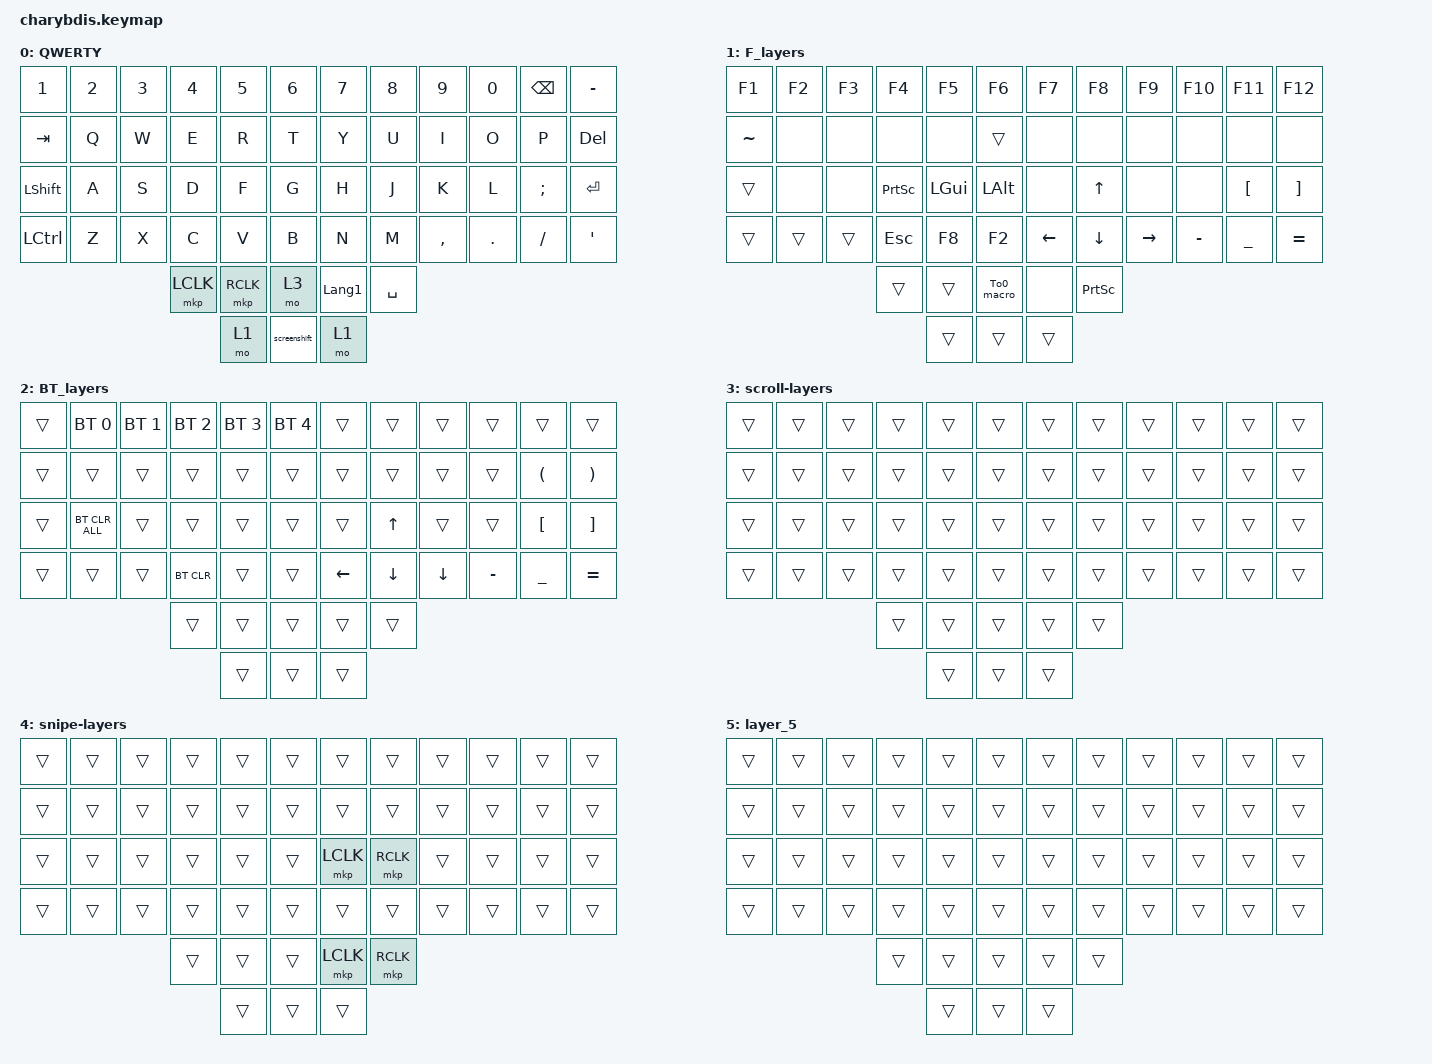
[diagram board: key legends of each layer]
#include <behaviors.dtsi>
#include <dt-bindings/zmk/bt.h>
#include <dt-bindings/zmk/keys.h>
#include <dt-bindings/zmk/pointing.h>
#include <dt-bindings/zmk/rgb.h>

&lt {
    tapping-term-ms = <200>;
    flavor = "balanced";
    quick-tap-ms = <150>;
};

/ {
    macros {
        To1_macro: To1_macro {
            compatible = "zmk,behavior-macro";
            label = "To1_macro";
            #binding-cells = <0>;
            bindings = <&rgb_ug RGB_EFF &rgb_ug RGB_COLOR_HSB(128,100,50) &to 1>;
        };

        To0_macro: To0_macro {
            compatible = "zmk,behavior-macro";
            label = "To0_macro";
            #binding-cells = <0>;
            bindings = <&rgb_ug RGB_EFR &to 0>;
        };

        To2_macro: To2_macro {
            compatible = "zmk,behavior-macro";
            label = "To2_macro";
            #binding-cells = <0>;
            bindings =
                <&to 2>,
                <&macro_wait_time 30>,
                <&rgb_ug RGB_COLOR_HSB(250,100,50)>;
        };

        screenshift: screenshift {
            compatible = "zmk,behavior-macro";
            #binding-cells = <0>;
            bindings =
                <&macro_press>,
                <&kp LEFT_GUI &kp LEFT_SHIFT>,
                <&macro_tap>,
                <&kp RIGHT_ARROW>,
                <&macro_release>,
                <&kp LEFT_GUI &kp LEFT_SHIFT>;

            label = "SCREENSHIFT";
        };
    };

    keymap {
        compatible = "zmk,keymap";

        QWERTY {
            bindings = <
&kp N1          &kp N2  &kp N3  &kp N4     &kp N5     &kp N6          &kp N7          &kp N8     &kp N9     &kp N0   &kp BSPC  &kp MINUS
&kp TAB         &kp Q   &kp W   &kp E      &kp R      &kp T           &kp Y           &kp U      &kp I      &kp O    &kp P     &kp DELETE
&kp LEFT_SHIFT  &kp A   &kp S   &kp D      &kp F      &kp G           &kp H           &kp J      &kp K      &kp L    &kp SEMI  &kp ENTER
&kp LCTRL       &kp Z   &kp X   &kp C      &kp V      &kp B           &kp N           &kp M      &kp COMMA  &kp DOT  &kp FSLH  &kp SQT
                                &mkp LCLK  &mkp RCLK  &mo 3           &kp LANGUAGE_1  &kp SPACE
                                           &mo 1      &screenshift    &mo 1
            >;
        };

        F_layers {
            bindings = <
&kp F1     &kp F2  &kp F3  &kp F4           &kp F5        &kp F6          &kp F7          &kp F8           &kp F9           &kp F10    &kp F11           &kp F12
&kp TILDE  &none   &none   &none            &none         &trans          &none           &none            &none            &none      &none             &none
&trans     &none   &none   &kp PRINTSCREEN  &kp LEFT_GUI  &kp LEFT_ALT    &none           &kp UP_ARROW     &none            &none      &kp LEFT_BRACKET  &kp RIGHT_BRACKET
&trans     &trans  &trans  &kp ESCAPE       &kp F8        &kp F2          &kp LEFT_ARROW  &kp DOWN_ARROW   &kp RIGHT_ARROW  &kp MINUS  &kp UNDER         &kp EQUAL
                           &trans           &trans        &To0_macro      &none           &kp PRINTSCREEN
                                            &trans        &trans          &trans
            >;
        };

        BT_layers {
            bindings = <
&trans  &bt BT_SEL 0    &bt BT_SEL 1  &bt BT_SEL 2  &bt BT_SEL 3  &bt BT_SEL 4    &trans          &trans          &trans          &trans     &trans                &trans
&trans  &trans          &trans        &trans        &trans        &trans          &trans          &trans          &trans          &trans     &kp LEFT_PARENTHESIS  &kp RIGHT_PARENTHESIS
&trans  &bt BT_CLR_ALL  &trans        &trans        &trans        &trans          &trans          &kp UP_ARROW    &trans          &trans     &kp LEFT_BRACKET      &kp RIGHT_BRACKET
&trans  &trans          &trans        &bt BT_CLR    &trans        &trans          &kp LEFT_ARROW  &kp DOWN_ARROW  &kp DOWN_ARROW  &kp MINUS  &kp UNDER             &kp EQUAL
                                      &trans        &trans        &trans          &trans          &trans
                                                    &trans        &trans          &trans
            >;
        };

        scroll-layers {
            bindings = <
&trans  &trans  &trans  &trans  &trans  &trans    &trans  &trans  &trans  &trans  &trans  &trans
&trans  &trans  &trans  &trans  &trans  &trans    &trans  &trans  &trans  &trans  &trans  &trans
&trans  &trans  &trans  &trans  &trans  &trans    &trans  &trans  &trans  &trans  &trans  &trans
&trans  &trans  &trans  &trans  &trans  &trans    &trans  &trans  &trans  &trans  &trans  &trans
                        &trans  &trans  &trans    &trans  &trans
                                &trans  &trans    &trans
            >;
        };

        snipe-layers {
            bindings = <
&trans  &trans  &trans  &trans  &trans  &trans    &trans     &trans     &trans  &trans  &trans  &trans
&trans  &trans  &trans  &trans  &trans  &trans    &trans     &trans     &trans  &trans  &trans  &trans
&trans  &trans  &trans  &trans  &trans  &trans    &mkp LCLK  &mkp RCLK  &trans  &trans  &trans  &trans
&trans  &trans  &trans  &trans  &trans  &trans    &trans     &trans     &trans  &trans  &trans  &trans
                        &trans  &trans  &trans    &mkp LCLK  &mkp RCLK
                                &trans  &trans    &trans
            >;
        };

        layer_5 {
            bindings = <
&trans  &trans  &trans  &trans  &trans  &trans    &trans  &trans  &trans  &trans  &trans  &trans
&trans  &trans  &trans  &trans  &trans  &trans    &trans  &trans  &trans  &trans  &trans  &trans
&trans  &trans  &trans  &trans  &trans  &trans    &trans  &trans  &trans  &trans  &trans  &trans
&trans  &trans  &trans  &trans  &trans  &trans    &trans  &trans  &trans  &trans  &trans  &trans
                        &trans  &trans  &trans    &trans  &trans
                                &trans  &trans    &trans
            >;
        };
    };
};
